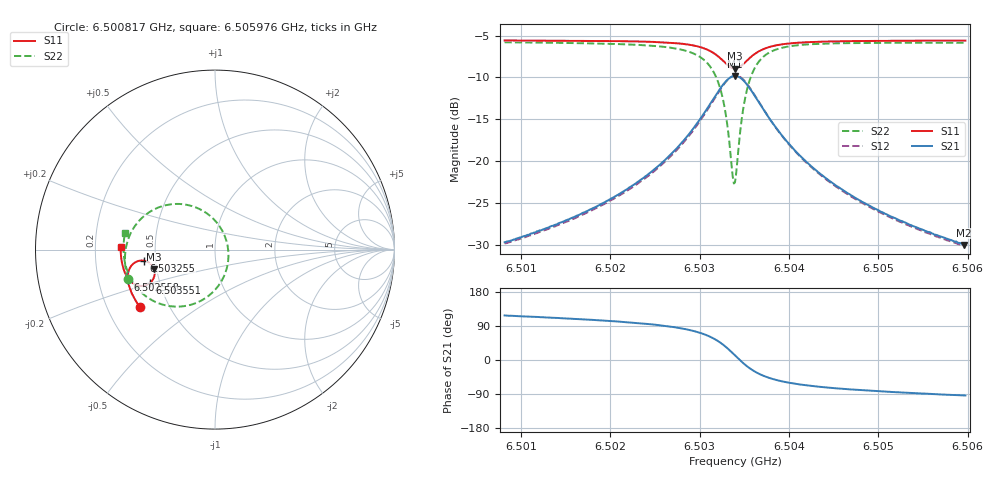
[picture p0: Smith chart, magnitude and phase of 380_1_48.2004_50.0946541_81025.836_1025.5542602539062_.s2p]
#  HZ  S  RI  R  50.00
! Rohde & Schwarz Vector Network Analyzer
! Rohde-Schwarz,ZNB20-2Port,1311601062101988,3.16
! Created: UTC 3/20/2024, 11:53:04 AM
! freq[Hz]  re:S11  im:S11  re:S21  im:S21  re:S12  im:S12  re:S22  im:S22
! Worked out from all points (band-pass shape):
!   401 points, 6.500817 GHz to 6.505976 GHz, reference 50 ohm
!   highest |S21| = -9.81 dB at 6.503396 GHz (marker M1); lowest = -30.0 dB at 6.505963 GHz (marker M2)
!   |S21| within 3 dB of the highest: 6.503139 GHz to 6.503654 GHz (515.5 kHz wide, 0.00793 % of centre)
!   lowest |S11| = -9.0 dB at 6.503396 GHz (marker M3), VSWR 2.11, Z = 24.2 - j6.07 ohm
!   |S11| at or under -10 dB: nowhere
!   |S22| runs from -22.7 to -5.8 dB; largest |S21 - S12| = 0.011
!   S11 on the Smith chart (normalised r, x): 6.500817 GHz: 0.34, -0.30; 6.502558 GHz: 0.33, -0.15; 6.503255 GHz: 0.43, -0.06; 6.503551 GHz: 0.44, -0.20; 6.505976 GHz: 0.31, +0.01
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6.5008168e9  -0.4202 -0.3174  -0.0151 0.029  -0.0134 0.0293  -0.4858 -0.1663
6.5016809e9  -0.4582 -0.2547  -0.0146 0.0464  -0.0122 0.046  -0.5011 -0.0765
6.5021582e9  -0.4756 -0.213  -0.0118 0.0654  -0.00886 0.0644  -0.4994 -0.0106
6.5025451e9  -0.4852 -0.1712  -0.00338 0.0942  0.000324 0.092  -0.4813 0.0644
6.502558e9  -0.4854 -0.1696  -0.00271 0.0954  0.000921 0.0933  -0.4802 0.0674
6.5028031e9  -0.4849 -0.1344  0.0153 0.1284  0.0191 0.1246  -0.4424 0.1367
6.5029837e9  -0.4737 -0.1013  0.0494 0.1642  0.0526 0.1589  -0.3751 0.2026
6.5031513e9  -0.4395 -0.0683  0.126 0.1975  0.1274 0.191  -0.2346 0.2535
6.5032545e9  -0.3973 -0.0613  0.2103 0.1891  0.2106 0.1837  -0.088 0.2269
6.5033061e9  -0.3721 -0.0696  0.2582 0.1618  0.2589 0.1571  -0.0082 0.1705
6.5033706e9  -0.3456 -0.0955  0.3056 0.0995  0.308 0.0944  0.0631 0.0506
6.5033964e9  -0.3393 -0.1097  0.3159 0.0677  0.3188 0.0621  0.0742 -0.0082
6.5034867e9  -0.3431 -0.1616  0.3023 -0.0421  0.3042 -0.0518  0.0191 -0.2015
6.5035512e9  -0.3639 -0.187  0.2603 -0.0956  0.2594 -0.1066  -0.0754 -0.2834
6.5036544e9  -0.4028 -0.202  0.1871 -0.1315  0.182 -0.1408  -0.2227 -0.3175
6.503822e9  -0.4482 -0.1924  0.107 -0.1289  0.1 -0.1339  -0.3674 -0.2721
6.5040026e9  -0.4753 -0.1711  0.0631 -0.1095  0.0571 -0.1117  -0.4385 -0.2086
6.5042606e9  -0.4961 -0.1409  0.0335 -0.0857  0.0289 -0.0863  -0.4814 -0.1372
6.5046475e9  -0.5116 -0.1013  0.0148 -0.0632  0.0116 -0.0628  -0.5036 -0.0628
6.5051247e9  -0.521 -0.0575  0.0051 -0.0469  0.00272 -0.0463  -0.5097 0.003
6.5059631e9  -0.5258 0.0131  -0.00201 -0.0315  -0.00338 -0.0309  -0.5017 0.0902
6.505976e9  -0.5258 0.0141  -0.00207 -0.0315  -0.00335 -0.0308  -0.5015 0.0915
